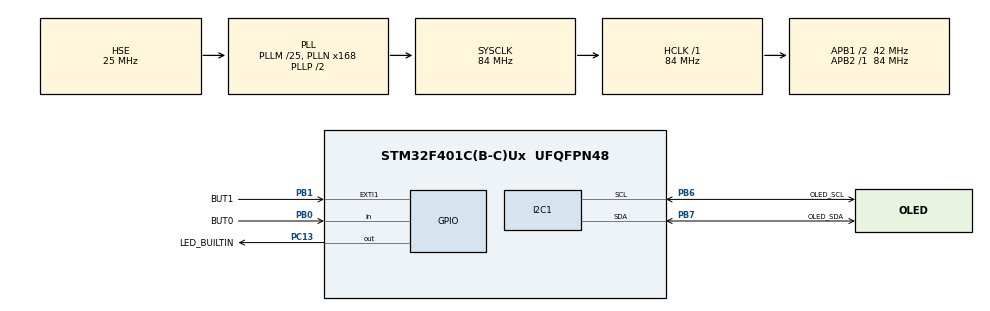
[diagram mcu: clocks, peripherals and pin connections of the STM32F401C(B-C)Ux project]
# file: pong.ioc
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I2C1.I2C_Mode=I2C_Fast
Mcu.Family=STM32F4
Mcu.Name=STM32F401C(B-C)Ux
Mcu.Package=UFQFPN48
NVIC.PriorityGroup=NVIC_PRIORITYGROUP_4
PA13.Mode=Serial_Wire
PA13.Signal=SYS_JTMS-SWDIO
PA14.Mode=Serial_Wire
PA14.Signal=SYS_JTCK-SWCLK
PB0.GPIO_Label=BUT0
PB0.Signal=GPIO_Input
PB1.GPIO_Label=BUT1
PB1.Signal=GPXTI1
PB6.GPIO_Label=OLED_SCL
PB6.GPIO_Pu=GPIO_PULLUP
PB6.Mode=I2C
PB6.Signal=I2C1_SCL
PB7.GPIO_Label=OLED_SDA
PB7.GPIO_Pu=GPIO_PULLUP
PB7.Mode=I2C
PB7.Signal=I2C1_SDA
PC13-ANTI_TAMP.GPIO_Label=LED_BUILTIN
PC13-ANTI_TAMP.Signal=GPIO_Output
PH0\ -\ OSC_IN.Mode=HSE-External-Oscillator
PH0\ -\ OSC_IN.Signal=RCC_OSC_IN
PH1\ -\ OSC_OUT.Mode=HSE-External-Oscillator
PH1\ -\ OSC_OUT.Signal=RCC_OSC_OUT
ProjectManager.HeapSize=0x200
ProjectManager.StackSize=0x400
ProjectManager.TargetToolchain=STM32CubeIDE
RCC.48MHZClocksFreq_Value=42000000
RCC.AHBFreq_Value=84000000
RCC.APB1CLKDivider=RCC_HCLK_DIV2
RCC.APB1Freq_Value=42000000
RCC.APB1TimFreq_Value=84000000
RCC.APB2Freq_Value=84000000
RCC.APB2TimFreq_Value=84000000
RCC.CortexFreq_Value=84000000
RCC.HCLKFreq_Value=84000000
RCC.HSE_VALUE=25000000
RCC.HSI_VALUE=16000000
RCC.LSE_VALUE=32768
RCC.PLLM=25
RCC.PLLN=168
RCC.PLLSourceVirtual=RCC_PLLSOURCE_HSE
RCC.SYSCLKFreq_VALUE=84000000
RCC.SYSCLKSource=RCC_SYSCLKSOURCE_PLLCLK
RCC.VCOOutputFreq_Value=168000000
board=custom

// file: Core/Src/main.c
/* USER CODE BEGIN Header */
/**
  ******************************************************************************
  * @file           : main.c
  * @brief          : Main program body
  ******************************************************************************
  * @attention
  *
  * Copyright (c) 2022 STMicroelectronics.
  * All rights reserved.
  *
  * This software is licensed under terms that can be found in the LICENSE file
  * in the root directory of this software component.
  * If no LICENSE file comes with this software, it is provided AS-IS.
  *
  ******************************************************************************
  */
/* USER CODE END Header */
#include "main.h"

/* USER CODE BEGIN Includes */
#include "ssd1306.h"
#include "fonts.h"
#include "stdio.h"
#include "pong.h"

/* USER CODE END Includes */

/* USER CODE BEGIN PD */
#define LED_ON 0
#define LED_OFF 1

/* USER CODE END PD */

 I2C_HandleTypeDef hi2c1;

void SystemClock_Config(void);
static void MX_GPIO_Init(void);
static void MX_I2C1_Init(void);
/* USER CODE BEGIN PFP */
void blink_multi(int repeat, int delay)
{
	HAL_GPIO_WritePin(LED_BUILTIN_GPIO_Port, LED_BUILTIN_Pin, LED_OFF);

	for(int i = 0;i<repeat;i++){
		HAL_GPIO_WritePin(LED_BUILTIN_GPIO_Port, LED_BUILTIN_Pin, LED_ON);
		HAL_Delay(delay);
		HAL_GPIO_WritePin(LED_BUILTIN_GPIO_Port, LED_BUILTIN_Pin, LED_OFF);
		HAL_Delay(delay);
	}

}
/* USER CODE END PFP */

int main(void)
{

  /* MCU Configuration--------------------------------------------------------*/

  /* Reset of all peripherals, Initializes the Flash interface and the Systick. */
  HAL_Init();

  /* Configure the system clock */
  SystemClock_Config();

  /* Initialize all configured peripherals */
  MX_GPIO_Init();
  MX_I2C1_Init();
  /* USER CODE BEGIN 2 */

  ballPos ball_x_local = 0;
  ballPos ball_y_local = 0;
  bool game_over = FALSE;

  SSD1306_Init (); // initialize the display

  /* USER CODE END 2 */

  /* Infinite loop */
  while (1)
  {

    /* USER CODE BEGIN 3 */

	  reset_game();

	  game_over = FALSE;

//	  if(HAL_GPIO_ReadPin(BUT0_GPIO_Port, BUT0_Pin))
//	  {
//		  HAL_GPIO_WritePin(LED_BUILTIN_GPIO_Port, LED_BUILTIN_Pin, LED_ON);
//	  } else {
//		  HAL_GPIO_WritePin(LED_BUILTIN_GPIO_Port, LED_BUILTIN_Pin, LED_OFF);
//	  }

	  pong_start_screen();
	  pong_wait_for_button_press();
	  blink_multi(5, 20);

	  while(!game_over)
	  {
		  pong_move_paddle();

		  if(pong_ball_at_paddle()){
			  if(ball_in_paddle()){
				  bounce_off_paddle();
			  } else {
				  pong_game_over();
				  pong_wait_for_button_press();
				  game_over = TRUE;
			  }
		  } else {
			  pong_update_ball_pos();
		  }

		  ball_x_local = get_ball_x();
		  ball_y_local = get_ball_y();

		  if(!game_over)
		  {
			  pong_display_frame();
		  }

	  }
//	  HAL_Delay(100);

  }
  /* USER CODE END 3 */
}

void SystemClock_Config(void)
{
  RCC_OscInitTypeDef RCC_OscInitStruct = {0};
  RCC_ClkInitTypeDef RCC_ClkInitStruct = {0};

  /** Configure the main internal regulator output voltage
  */
  __HAL_RCC_PWR_CLK_ENABLE();
  __HAL_PWR_VOLTAGESCALING_CONFIG(PWR_REGULATOR_VOLTAGE_SCALE2);

  /** Initializes the RCC Oscillators according to the specified parameters
  * in the RCC_OscInitTypeDef structure.
  */
  RCC_OscInitStruct.OscillatorType = RCC_OSCILLATORTYPE_HSE;
  RCC_OscInitStruct.HSEState = RCC_HSE_ON;
  RCC_OscInitStruct.PLL.PLLState = RCC_PLL_ON;
  RCC_OscInitStruct.PLL.PLLSource = RCC_PLLSOURCE_HSE;
  RCC_OscInitStruct.PLL.PLLM = 25;
  RCC_OscInitStruct.PLL.PLLN = 168;
  RCC_OscInitStruct.PLL.PLLP = RCC_PLLP_DIV2;
  RCC_OscInitStruct.PLL.PLLQ = 4;
  if (HAL_RCC_OscConfig(&RCC_OscInitStruct) != HAL_OK)
  {
    Error_Handler();
  }

  /** Initializes the CPU, AHB and APB buses clocks
  */
  RCC_ClkInitStruct.ClockType = RCC_CLOCKTYPE_HCLK|RCC_CLOCKTYPE_SYSCLK
                              |RCC_CLOCKTYPE_PCLK1|RCC_CLOCKTYPE_PCLK2;
  RCC_ClkInitStruct.SYSCLKSource = RCC_SYSCLKSOURCE_PLLCLK;
  RCC_ClkInitStruct.AHBCLKDivider = RCC_SYSCLK_DIV1;
  RCC_ClkInitStruct.APB1CLKDivider = RCC_HCLK_DIV2;
  RCC_ClkInitStruct.APB2CLKDivider = RCC_HCLK_DIV1;

  if (HAL_RCC_ClockConfig(&RCC_ClkInitStruct, FLASH_LATENCY_2) != HAL_OK)
  {
    Error_Handler();
  }
}

static void MX_I2C1_Init(void)
{

  hi2c1.Instance = I2C1;
  hi2c1.Init.ClockSpeed = 400000;
  hi2c1.Init.DutyCycle = I2C_DUTYCYCLE_2;
  hi2c1.Init.OwnAddress1 = 0;
  hi2c1.Init.AddressingMode = I2C_ADDRESSINGMODE_7BIT;
  hi2c1.Init.DualAddressMode = I2C_DUALADDRESS_DISABLE;
  hi2c1.Init.OwnAddress2 = 0;
  hi2c1.Init.GeneralCallMode = I2C_GENERALCALL_DISABLE;
  hi2c1.Init.NoStretchMode = I2C_NOSTRETCH_DISABLE;
  if (HAL_I2C_Init(&hi2c1) != HAL_OK)
  {
    Error_Handler();
  }

}

static void MX_GPIO_Init(void)
{
  GPIO_InitTypeDef GPIO_InitStruct = {0};

  /* GPIO Ports Clock Enable */
  __HAL_RCC_GPIOC_CLK_ENABLE();
  __HAL_RCC_GPIOH_CLK_ENABLE();
  __HAL_RCC_GPIOB_CLK_ENABLE();
  __HAL_RCC_GPIOA_CLK_ENABLE();

  /*Configure GPIO pin Output Level */
  HAL_GPIO_WritePin(LED_BUILTIN_GPIO_Port, LED_BUILTIN_Pin, GPIO_PIN_RESET);

  /*Configure GPIO pin : LED_BUILTIN_Pin */
  GPIO_InitStruct.Pin = LED_BUILTIN_Pin;
  GPIO_InitStruct.Mode = GPIO_MODE_OUTPUT_PP;
  GPIO_InitStruct.Pull = GPIO_NOPULL;
  GPIO_InitStruct.Speed = GPIO_SPEED_FREQ_LOW;
  HAL_GPIO_Init(LED_BUILTIN_GPIO_Port, &GPIO_InitStruct);

  /*Configure GPIO pin : BUT0_Pin */
  GPIO_InitStruct.Pin = BUT0_Pin;
  GPIO_InitStruct.Mode = GPIO_MODE_INPUT;
  GPIO_InitStruct.Pull = GPIO_NOPULL;
  HAL_GPIO_Init(BUT0_GPIO_Port, &GPIO_InitStruct);

  /*Configure GPIO pin : BUT1_Pin */
  GPIO_InitStruct.Pin = BUT1_Pin;
  GPIO_InitStruct.Mode = GPIO_MODE_IT_RISING;
  GPIO_InitStruct.Pull = GPIO_NOPULL;
  HAL_GPIO_Init(BUT1_GPIO_Port, &GPIO_InitStruct);

}

void Error_Handler(void)
{
  __disable_irq();
  while (1)
  {
  }
}
